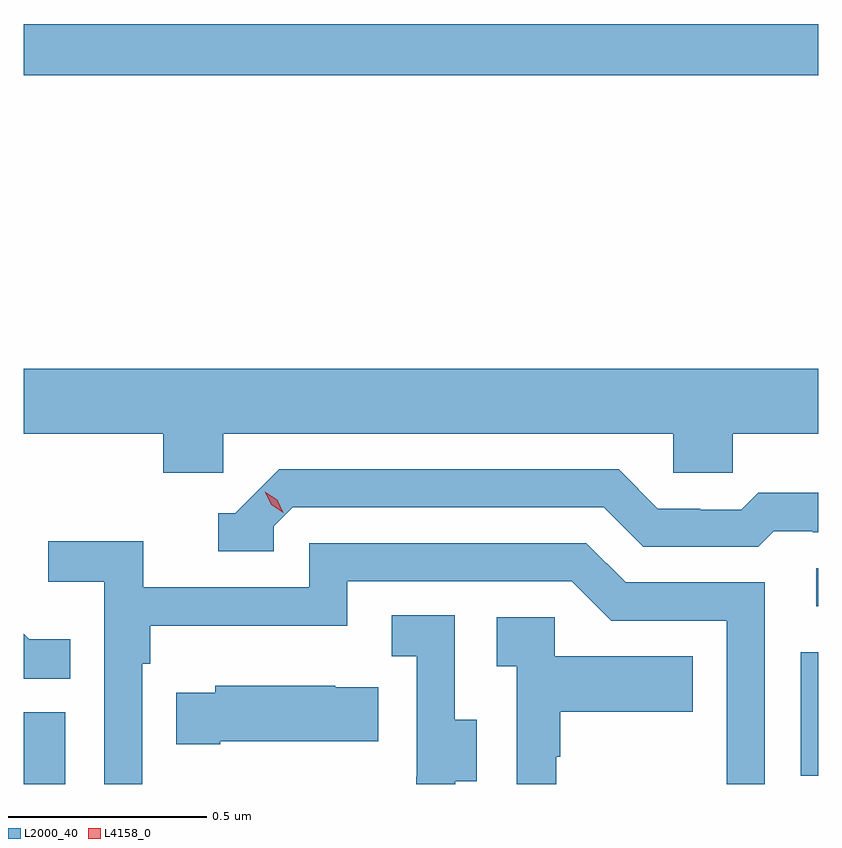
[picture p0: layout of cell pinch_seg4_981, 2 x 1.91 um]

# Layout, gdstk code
import gdstk
lib = gdstk.Library(unit=1e-6, precision=1e-09)
def R(c, l, rs):  # rectangles x0, y0, x1, y1
    for r in rs: c.add(gdstk.rectangle(r[:2], r[2:], *l))
def P(c, l, *ps):  # polygons
    for p in ps: c.add(gdstk.Polygon(p, *l))
L2000_40 = (2000, 40)
L4158_0 = (4158, 0)

pinch_seg4_981 = lib.new_cell('pinch_seg4_981')
R(pinch_seg4_981, L2000_40, [(842.497,774.627,842.602,774.807), (844.452,774.648,844.497,774.958), (844.491,775.074,844.497,775.17), (842.497,776.41,844.497,776.539)])
P(pinch_seg4_981, L2000_40, [(843,775.508),(844.131,775.508),(844.131,775.41),(844.281,775.41),(844.281,775.508),(844.497,775.508),(844.497,775.672),(842.497,775.672),(842.497,775.508),(842.849,775.508),(842.849,775.41),(843,775.41)],
  [(843.126,775.275),(843.174,775.323),(843.957,775.323),(844.056,775.224),(844.345,775.224),(844.384,775.263),(844.483,775.263),(844.483,775.26),(844.497,775.26),(844.497,775.36),(844.345,775.36),(844.303,775.317),(844.2,775.317),(844.2,775.32),(844.093,775.32),(843.994,775.419),(843.141,775.419),(843.03,775.308),(842.987,775.308),(842.987,775.212),(843.126,775.212)],
  [(842.796,774.929),(842.816,774.929),(842.816,775.025),(843.312,775.025),(843.312,775.137),(843.876,775.137),(843.975,775.038),(844.266,775.038),(844.266,774.627),(844.362,774.627),(844.362,775.134),(844.012,775.134),(843.913,775.233),(843.216,775.233),(843.216,775.122),(842.798,775.122),(842.798,775.238),(842.559,775.238),(842.559,775.136),(842.7,775.136),(842.7,774.627),(842.796,774.627)],
  [(843.583,774.634),(843.637,774.634),(843.637,774.789),(843.582,774.789),(843.582,775.052),(843.423,775.052),(843.423,774.949),(843.486,774.949),(843.486,774.645),(843.485,774.645),(843.485,774.627),(843.583,774.627)],
  [(843.837,774.695),(843.847,774.695),(843.847,774.809),(844.181,774.809),(844.181,774.949),(843.834,774.949),(843.834,775.047),(843.687,775.047),(843.687,774.923),(843.738,774.923),(843.738,774.627),(843.837,774.627)],
  [(842.615,774.991),(842.511,774.991),(842.497,775.005),(842.497,774.892),(842.615,774.892)],
  [(842.992,774.734),(843.389,774.734),(843.389,774.871),(843.281,774.871),(843.281,774.874),(842.979,774.874),(842.979,774.856),(842.881,774.856),(842.881,774.727),(842.992,774.727)])
P(pinch_seg4_981, L4158_0, [(843.15,775.31),(843.12,775.329),(843.104,775.362),(843.104,775.362),(843.104,775.362),(843.135,775.342),(843.15,775.31),(843.15,775.31)])

lib.write_gds('pinch_seg4_981.gds')
